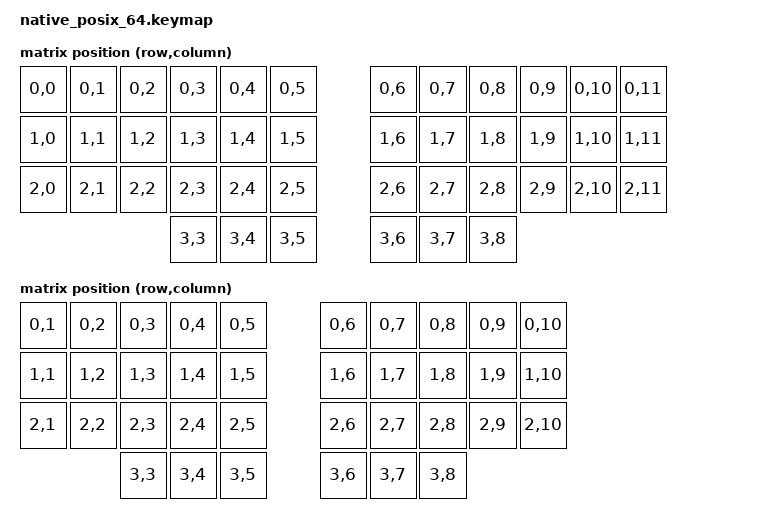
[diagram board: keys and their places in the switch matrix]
/*
 * Rig R2 — Flo's REAL keymap on native_posix_64 (G-test-harness.md §4 skeleton).
 *
 * TEMPLATE — do not edit in place. Copy this directory to tests/ak-truth/<your-case>/
 * and add the `events` list at the bottom.
 *
 * What this does:
 *   - pulls in the Corne physical layouts and gives them the two matrix transforms
 *     (copied verbatim from app/boards/shields/corne/corne.dtsi — no shield on native_posix)
 *   - includes the live zmk-config keymap by absolute container path
 *     (/workspaces/zmk-config is a bind of the host zmk-config checkout)
 *   - the chosen zmk,kscan stays the board's mock; the keymap's chosen
 *     zmk,physical-layout = &foostan_corne_5col_layout → five_column_transform (columns = 10)
 *
 * Mock coordinates (5-col transform, columns = 10, no col-offset):
 *   position p < 30  →  ZMK_MOCK_PRESS(p / 10, p % 10 + 1, ms)
 *   thumbs 30..35    →  ZMK_MOCK_PRESS(3, p - 27, ms)        (RC(3,3) … RC(3,8))
 *
 *   ╭───────────────────────────────────╮ ╭───────────────────────────────────╮
 *   │ LT4 LT3 LT2 LT1 LT0 │ │ RT0 RT1 RT2 RT3 RT4 │   pos  0.. 4 │  5.. 9   row 0, col 1..5 │ 6..10
 *   │ LM4 LM3 LM2 LM1 LM0 │ │ RM0 RM1 RM2 RM3 RM4 │   pos 10..14 │ 15..19   row 1, col 1..5 │ 6..10
 *   │ LB4 LB3 LB2 LB1 LB0 │ │ RB0 RB1 RB2 RB3 RB4 │   pos 20..24 │ 25..29   row 2, col 1..5 │ 6..10
 *   ╰───────╮ LH2 LH1 LH0 │ │ RH0 RH1 RH2 ╭───────╯   pos 30..32 │ 33..35   row 3, col 3..5 │ 6..8
 *
 *   e.g. LM1 = pos 13 = (1,4) · LT2 = pos 2 = (0,3) · LB2 = pos 22 = (2,3) · LH1 = pos 31 = (3,4) · RM1 = pos 16 = (1,7)
 */

#include <dt-bindings/zmk/kscan_mock.h>
#include <dt-bindings/zmk/matrix_transform.h>
#include <layouts/foostan/corne.dtsi>

/ {
    default_transform: keymap_transform_0 {
        compatible = "zmk,matrix-transform";
        columns = <12>;
        rows = <4>;
// | SW1  | SW2  | SW3  | SW4  | SW5  | SW6  |   | SW6  | SW5  | SW4  | SW3  | SW2  | SW1  |
// | SW7  | SW8  | SW9  | SW10 | SW11 | SW12 |   | SW12 | SW11 | SW10 | SW9  | SW8  | SW7  |
// | SW13 | SW14 | SW15 | SW16 | SW17 | SW18 |   | SW18 | SW17 | SW16 | SW15 | SW14 | SW13 |
//                      | SW19 | SW20 | SW21 |   | SW21 | SW20 | SW19 |
        map = <
RC(0,0) RC(0,1) RC(0,2) RC(0,3) RC(0,4) RC(0,5)  RC(0,6) RC(0,7) RC(0,8) RC(0,9) RC(0,10) RC(0,11)
RC(1,0) RC(1,1) RC(1,2) RC(1,3) RC(1,4) RC(1,5)  RC(1,6) RC(1,7) RC(1,8) RC(1,9) RC(1,10) RC(1,11)
RC(2,0) RC(2,1) RC(2,2) RC(2,3) RC(2,4) RC(2,5)  RC(2,6) RC(2,7) RC(2,8) RC(2,9) RC(2,10) RC(2,11)
                        RC(3,3) RC(3,4) RC(3,5)  RC(3,6) RC(3,7) RC(3,8)
        >;
    };

    five_column_transform: keymap_transform_1 {
        compatible = "zmk,matrix-transform";
        columns = <10>;
        rows = <4>;
// | SW2  | SW3  | SW4  | SW5  | SW6  |   | SW6  | SW5  | SW4  | SW3  | SW2  |
// | SW8  | SW9  | SW10 | SW11 | SW12 |   | SW12 | SW11 | SW10 | SW9  | SW8  |
// | SW14 | SW15 | SW16 | SW17 | SW18 |   | SW18 | SW17 | SW16 | SW15 | SW14 |
//               | SW19 | SW20 | SW21 |   | SW21 | SW20 | SW19 |
        map = <
RC(0,1) RC(0,2) RC(0,3) RC(0,4) RC(0,5)  RC(0,6) RC(0,7) RC(0,8) RC(0,9) RC(0,10)
RC(1,1) RC(1,2) RC(1,3) RC(1,4) RC(1,5)  RC(1,6) RC(1,7) RC(1,8) RC(1,9) RC(1,10)
RC(2,1) RC(2,2) RC(2,3) RC(2,4) RC(2,5)  RC(2,6) RC(2,7) RC(2,8) RC(2,9) RC(2,10)
                        RC(3,3) RC(3,4) RC(3,5)  RC(3,6) RC(3,7) RC(3,8)
        >;
    };
};

&foostan_corne_6col_layout {
    transform = <&default_transform>;
};

&foostan_corne_5col_layout {
    transform = <&five_column_transform>;
};

/* Flo's real keymap (includes behaviors.dtsi, keys.h, CONFIG.h, all features, 32 layers, 28 combos) */
#include "/workspaces/zmk-config/config/keyboards/chocofi/corne.keymap"

&kscan {
    /* >>> PLACEHOLDER — the template has NO events and will not build. <<<
     * A test case copies this directory and adds, e.g.:
     *
     * events = <
     *     ZMK_MOCK_PRESS(1,4,100)      // LM1 = pos 13 = T; 100 = boot delay AND gap after (+1 each on native)
     *     ZMK_MOCK_RELEASE(1,4,300)    // last gap bounds the observation window
     * >;
     */
};

/* ===== ARB-F2-press40 overlay (arbitration case, built from _rig_R2) ===== */

/* ARB-F2 (a): RM1 t, RM3 t+12 (R10 stall), UNRELATED press LM1 (T, pos 13) at t+40 → exit (3) 'press sharing no live candidate / after all deadlines'. */
&kscan {
    events = <
        ZMK_MOCK_PRESS(1,7,11)      /* RM1 A   abs  12 = t      */
        ZMK_MOCK_PRESS(1,9,27)      /* RM3 I   abs  24 = t+12   */
        ZMK_MOCK_PRESS(1,4,100)     /* LM1 T   abs  52 = t+40   */
        ZMK_MOCK_RELEASE(1,7,10)    /* RM1 up  abs 153          */
        ZMK_MOCK_RELEASE(1,9,10)    /* RM3 up  abs 164          */
        ZMK_MOCK_RELEASE(1,4,300)   /* LM1 up  abs 175, exit 476 */
    >;
};
